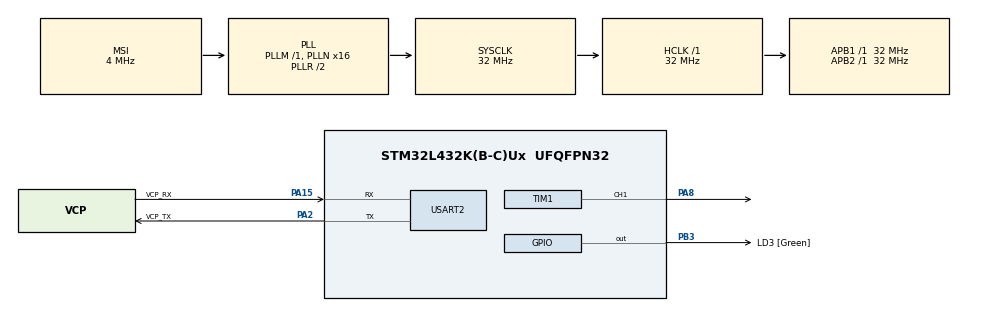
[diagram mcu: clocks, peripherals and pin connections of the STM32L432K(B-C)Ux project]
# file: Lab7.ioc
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Mcu.Family=STM32L4
Mcu.Name=STM32L432K(B-C)Ux
Mcu.Package=UFQFPN32
NVIC.PriorityGroup=NVIC_PRIORITYGROUP_4
PA0.GPIO_Label=MCO [High speed clock in]
PA0.Mode=HSE-External-Clock-Source-for-LittleOrca
PA0.Signal=RCC_CK_IN
PA13\ (JTMS-SWDIO).GPIO_Label=SWDIO
PA13\ (JTMS-SWDIO).Mode=Serial_Wire
PA13\ (JTMS-SWDIO).Signal=SYS_JTMS-SWDIO
PA14\ (JTCK-SWCLK).GPIO_Label=SWCLK
PA14\ (JTCK-SWCLK).Mode=Serial_Wire
PA14\ (JTCK-SWCLK).Signal=SYS_JTCK-SWCLK
PA15\ (JTDI).GPIO_Label=VCP_RX
PA15\ (JTDI).Mode=Asynchronous
PA15\ (JTDI).Signal=USART2_RX
PA2.GPIO_Label=VCP_TX
PA2.Mode=Asynchronous
PA2.Signal=USART2_TX
PA8.Signal=S_TIM1_CH1
PB3\ (JTDO-TRACESWO).GPIO_Label=LD3 [Green]
PB3\ (JTDO-TRACESWO).Signal=GPIO_Output
PC14-OSC32_IN\ (PC14).Mode=LSE-External-Oscillator
PC14-OSC32_IN\ (PC14).Signal=RCC_OSC32_IN
PC15-OSC32_OUT\ (PC15).Mode=LSE-External-Oscillator
PC15-OSC32_OUT\ (PC15).Signal=RCC_OSC32_OUT
ProjectManager.HeapSize=0x200
ProjectManager.StackSize=0x400
ProjectManager.TargetToolchain=MDK-ARM V5
RCC.AHBFreq_Value=32000000
RCC.APB1Freq_Value=32000000
RCC.APB1TimFreq_Value=32000000
RCC.APB2Freq_Value=32000000
RCC.APB2TimFreq_Value=32000000
RCC.CortexFreq_Value=32000000
RCC.HCLKFreq_Value=32000000
RCC.HSE_VALUE=8000000
RCC.HSI16_VALUE=16000000
RCC.HSI48_VALUE=48000000
RCC.HSI_VALUE=16000000
RCC.MSI_VALUE=4000000
RCC.PLLMUL=RCC_PLLMUL_4
RCC.PLLN=16
RCC.SYSCLKFreq_VALUE=32000000
RCC.SYSCLKSource=RCC_SYSCLKSOURCE_PLLCLK
RCC.VCOOutputFreq_Value=64000000
SH.S_TIM1_CH1.0=TIM1_CH1,PWM Generation1 CH1
TIM1.Channel-PWM\ Generation1\ CH1=TIM_CHANNEL_1
TIM1.Period=99
TIM1.Prescaler=3199
USART2.VirtualMode-Asynchronous=VM_ASYNC
VP_TIM1_VS_ClockSourceINT.Mode=Internal
board=NUCLEO-L432KC

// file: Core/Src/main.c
/* USER CODE BEGIN Header */
/**
  ******************************************************************************
  * @file           : main.c
  * @brief          : Musical tone generator - Twinkle Twinkle Little Star
  ******************************************************************************
  * @attention
  *
  * <h2><center>&copy; Copyright (c) 2025 STMicroelectronics.
  * All rights reserved.</center></h2>
  *
  * This software component is licensed by ST under BSD 3-Clause license,
  * the "License"; You may not use this file except in compliance with the
  * License. You may obtain a copy of the License at:
  *                        opensource.org/licenses/BSD-3-Clause
  *
  ******************************************************************************
  */
/* USER CODE END Header */

#include "main.h"

TIM_HandleTypeDef htim1;

UART_HandleTypeDef huart2;

/* USER CODE BEGIN PV */
// Musical note frequencies in Hz (Middle octave C4-B4)
// Do=C4, Re=D4, Mi=E4, Fa=F4, Sol=G4, La=A4, Ti=B4
#define C4  262   // Do
#define D4  294   // Re
#define E4  330   // Mi
#define F4  349   // Fa
#define G4  392   // Sol
#define A4  440   // La
#define B4  494   // Ti
#define C5  523   // Do (upper octave)

// Timer clock frequency = 32 MHz (from your system clock config)
#define TIMER_CLOCK 32000000

// Song: "Twinkle Twinkle Little Star" (20 notes)
// C C G G A A G - F F E E D D C - G G F F E E D - G G F F E E D
uint16_t song_notes[20] = {
    C4, C4, G4, G4, A4, A4, G4,  // "Twinkle twinkle little star"
    F4, F4, E4, E4, D4, D4, C4,  // "How I wonder what you are"
    G4, G4, F4, F4, E4, E4        // "Up above the world so high"
};

// Note durations in milliseconds (quarter notes = 500ms, half notes = 1000ms)
uint16_t note_durations[20] = {
    500, 500, 500, 500, 500, 500, 1000,  // Quarter notes + half note
    500, 500, 500, 500, 500, 500, 1000,  // Quarter notes + half note
    500, 500, 500, 500, 500, 500         // Quarter notes
};

// Prescaler and ARR arrays (computed for each note)
uint16_t prescalers[20];
uint32_t arr_values[20];
/* USER CODE END PV */

void SystemClock_Config(void);
static void MX_GPIO_Init(void);
static void MX_USART2_UART_Init(void);
static void MX_TIM1_Init(void);
/* USER CODE BEGIN PFP */
void Calculate_PWM_Parameters(void);
/* USER CODE END PFP */

/* USER CODE BEGIN 0 */
// Calculate PSC and ARR for each note frequency
void Calculate_PWM_Parameters(void)
{
    for (int i = 0; i < 20; i++)
    {
        // Target: PWM_freq = TIMER_CLOCK / ((PSC + 1) * (ARR + 1))
        // We want reasonable resolution, so try PSC = 0 first
        uint32_t divider = TIMER_CLOCK / song_notes[i];

        if (divider <= 65536) {
            // Can use PSC = 0
            prescalers[i] = 0;
            arr_values[i] = divider - 1;
        } else {
            // Need larger prescaler
            prescalers[i] = 1;
            arr_values[i] = (TIMER_CLOCK / (song_notes[i] * 2)) - 1;
        }
    }
}
/* USER CODE END 0 */

int main(void)
{

  /* MCU Configuration--------------------------------------------------------*/

  /* Reset of all peripherals, Initializes the Flash interface and the Systick. */
  HAL_Init();

  /* Configure the system clock */
  SystemClock_Config();

  /* Initialize all configured peripherals */
  MX_GPIO_Init();
  MX_USART2_UART_Init();
  MX_TIM1_Init();
  /* USER CODE BEGIN 2 */

  // Calculate PSC and ARR values for all notes
  Calculate_PWM_Parameters();

  /* USER CODE END 2 */

  /* Infinite loop */
    while (1)
    {

    /* USER CODE BEGIN 3 */
        // Play the song
        for (int i = 0; i < 20; i++)
        {
            // Stop timer before changing PSC + ARR
            HAL_TIM_PWM_Stop(&htim1, TIM_CHANNEL_1);

            // Set new prescaler
            __HAL_TIM_SET_PRESCALER(&htim1, prescalers[i]);

            // Set new ARR (auto-reload)
            __HAL_TIM_SET_AUTORELOAD(&htim1, arr_values[i]);

            // Set CCR to 50% duty cycle
            __HAL_TIM_SET_COMPARE(&htim1, TIM_CHANNEL_1, arr_values[i] / 2);

            // Restart timer
            HAL_TIM_PWM_Start(&htim1, TIM_CHANNEL_1);

            // Play note for specified duration
            HAL_Delay(note_durations[i]);
        }

        // Pause between song repetitions
        HAL_TIM_PWM_Stop(&htim1, TIM_CHANNEL_1);
        HAL_Delay(2000);
    }
  /* USER CODE END 3 */
}

void SystemClock_Config(void)
{
  RCC_OscInitTypeDef RCC_OscInitStruct = {0};
  RCC_ClkInitTypeDef RCC_ClkInitStruct = {0};
  RCC_PeriphCLKInitTypeDef PeriphClkInit = {0};

  /** Configure LSE Drive Capability
  */
  HAL_PWR_EnableBkUpAccess();
  __HAL_RCC_LSEDRIVE_CONFIG(RCC_LSEDRIVE_LOW);
  /** Initializes the CPU, AHB and APB busses clocks
  */
  RCC_OscInitStruct.OscillatorType = RCC_OSCILLATORTYPE_LSE|RCC_OSCILLATORTYPE_MSI;
  RCC_OscInitStruct.LSEState = RCC_LSE_ON;
  RCC_OscInitStruct.MSIState = RCC_MSI_ON;
  RCC_OscInitStruct.MSICalibrationValue = 0;
  RCC_OscInitStruct.MSIClockRange = RCC_MSIRANGE_6;
  RCC_OscInitStruct.PLL.PLLState = RCC_PLL_ON;
  RCC_OscInitStruct.PLL.PLLSource = RCC_PLLSOURCE_MSI;
  RCC_OscInitStruct.PLL.PLLM = 1;
  RCC_OscInitStruct.PLL.PLLN = 16;
  RCC_OscInitStruct.PLL.PLLP = RCC_PLLP_DIV7;
  RCC_OscInitStruct.PLL.PLLQ = RCC_PLLQ_DIV2;
  RCC_OscInitStruct.PLL.PLLR = RCC_PLLR_DIV2;
  if (HAL_RCC_OscConfig(&RCC_OscInitStruct) != HAL_OK)
  {
    Error_Handler();
  }
  /** Initializes the CPU, AHB and APB busses clocks
  */
  RCC_ClkInitStruct.ClockType = RCC_CLOCKTYPE_HCLK|RCC_CLOCKTYPE_SYSCLK
                              |RCC_CLOCKTYPE_PCLK1|RCC_CLOCKTYPE_PCLK2;
  RCC_ClkInitStruct.SYSCLKSource = RCC_SYSCLKSOURCE_PLLCLK;
  RCC_ClkInitStruct.AHBCLKDivider = RCC_SYSCLK_DIV1;
  RCC_ClkInitStruct.APB1CLKDivider = RCC_HCLK_DIV1;
  RCC_ClkInitStruct.APB2CLKDivider = RCC_HCLK_DIV1;

  if (HAL_RCC_ClockConfig(&RCC_ClkInitStruct, FLASH_LATENCY_1) != HAL_OK)
  {
    Error_Handler();
  }
  PeriphClkInit.PeriphClockSelection = RCC_PERIPHCLK_USART2;
  PeriphClkInit.Usart2ClockSelection = RCC_USART2CLKSOURCE_PCLK1;
  if (HAL_RCCEx_PeriphCLKConfig(&PeriphClkInit) != HAL_OK)
  {
    Error_Handler();
  }
  /** Configure the main internal regulator output voltage
  */
  if (HAL_PWREx_ControlVoltageScaling(PWR_REGULATOR_VOLTAGE_SCALE1) != HAL_OK)
  {
    Error_Handler();
  }
  /** Enable MSI Auto calibration
  */
  HAL_RCCEx_EnableMSIPLLMode();
}

static void MX_TIM1_Init(void)
{

  TIM_ClockConfigTypeDef sClockSourceConfig = {0};
  TIM_MasterConfigTypeDef sMasterConfig = {0};
  TIM_OC_InitTypeDef sConfigOC = {0};
  TIM_BreakDeadTimeConfigTypeDef sBreakDeadTimeConfig = {0};

  htim1.Instance = TIM1;
  htim1.Init.Prescaler = 0;
  htim1.Init.CounterMode = TIM_COUNTERMODE_UP;
  htim1.Init.Period = 65535;
  htim1.Init.ClockDivision = TIM_CLOCKDIVISION_DIV1;
  htim1.Init.RepetitionCounter = 0;
  htim1.Init.AutoReloadPreload = TIM_AUTORELOAD_PRELOAD_DISABLE;
  if (HAL_TIM_Base_Init(&htim1) != HAL_OK)
  {
    Error_Handler();
  }
  sClockSourceConfig.ClockSource = TIM_CLOCKSOURCE_INTERNAL;
  if (HAL_TIM_ConfigClockSource(&htim1, &sClockSourceConfig) != HAL_OK)
  {
    Error_Handler();
  }
  if (HAL_TIM_PWM_Init(&htim1) != HAL_OK)
  {
    Error_Handler();
  }
  sMasterConfig.MasterOutputTrigger = TIM_TRGO_RESET;
  sMasterConfig.MasterOutputTrigger2 = TIM_TRGO2_RESET;
  sMasterConfig.MasterSlaveMode = TIM_MASTERSLAVEMODE_DISABLE;
  if (HAL_TIMEx_MasterConfigSynchronization(&htim1, &sMasterConfig) != HAL_OK)
  {
    Error_Handler();
  }
  sConfigOC.OCMode = TIM_OCMODE_PWM1;
  sConfigOC.Pulse = 0;
  sConfigOC.OCPolarity = TIM_OCPOLARITY_HIGH;
  sConfigOC.OCNPolarity = TIM_OCNPOLARITY_HIGH;
  sConfigOC.OCFastMode = TIM_OCFAST_DISABLE;
  sConfigOC.OCIdleState = TIM_OCIDLESTATE_RESET;
  sConfigOC.OCNIdleState = TIM_OCNIDLESTATE_RESET;
  if (HAL_TIM_PWM_ConfigChannel(&htim1, &sConfigOC, TIM_CHANNEL_1) != HAL_OK)
  {
    Error_Handler();
  }
  sBreakDeadTimeConfig.OffStateRunMode = TIM_OSSR_DISABLE;
  sBreakDeadTimeConfig.OffStateIDLEMode = TIM_OSSI_DISABLE;
  sBreakDeadTimeConfig.LockLevel = TIM_LOCKLEVEL_OFF;
  sBreakDeadTimeConfig.DeadTime = 0;
  sBreakDeadTimeConfig.BreakState = TIM_BREAK_DISABLE;
  sBreakDeadTimeConfig.BreakPolarity = TIM_BREAKPOLARITY_HIGH;
  sBreakDeadTimeConfig.BreakFilter = 0;
  sBreakDeadTimeConfig.Break2State = TIM_BREAK2_DISABLE;
  sBreakDeadTimeConfig.Break2Polarity = TIM_BREAK2POLARITY_HIGH;
  sBreakDeadTimeConfig.Break2Filter = 0;
  sBreakDeadTimeConfig.AutomaticOutput = TIM_AUTOMATICOUTPUT_DISABLE;
  if (HAL_TIMEx_ConfigBreakDeadTime(&htim1, &sBreakDeadTimeConfig) != HAL_OK)
  {
    Error_Handler();
  }
  HAL_TIM_MspPostInit(&htim1);

}

static void MX_USART2_UART_Init(void)
{

  huart2.Instance = USART2;
  huart2.Init.BaudRate = 115200;
  huart2.Init.WordLength = UART_WORDLENGTH_8B;
  huart2.Init.StopBits = UART_STOPBITS_1;
  huart2.Init.Parity = UART_PARITY_NONE;
  huart2.Init.Mode = UART_MODE_TX_RX;
  huart2.Init.HwFlowCtl = UART_HWCONTROL_NONE;
  huart2.Init.OverSampling = UART_OVERSAMPLING_16;
  huart2.Init.OneBitSampling = UART_ONE_BIT_SAMPLE_DISABLE;
  huart2.AdvancedInit.AdvFeatureInit = UART_ADVFEATURE_NO_INIT;
  if (HAL_UART_Init(&huart2) != HAL_OK)
  {
    Error_Handler();
  }

}

static void MX_GPIO_Init(void)
{
  GPIO_InitTypeDef GPIO_InitStruct = {0};

  /* GPIO Ports Clock Enable */
  __HAL_RCC_GPIOC_CLK_ENABLE();
  __HAL_RCC_GPIOA_CLK_ENABLE();
  __HAL_RCC_GPIOB_CLK_ENABLE();

  /*Configure GPIO pin Output Level */
  HAL_GPIO_WritePin(LD3_GPIO_Port, LD3_Pin, GPIO_PIN_RESET);

  /*Configure GPIO pin : LD3_Pin */
  GPIO_InitStruct.Pin = LD3_Pin;
  GPIO_InitStruct.Mode = GPIO_MODE_OUTPUT_PP;
  GPIO_InitStruct.Pull = GPIO_NOPULL;
  GPIO_InitStruct.Speed = GPIO_SPEED_FREQ_LOW;
  HAL_GPIO_Init(LD3_GPIO_Port, &GPIO_InitStruct);

}

void Error_Handler(void)
{
}

/************************ (C) COPYRIGHT STMicroelectronics *****END OF FILE****/
